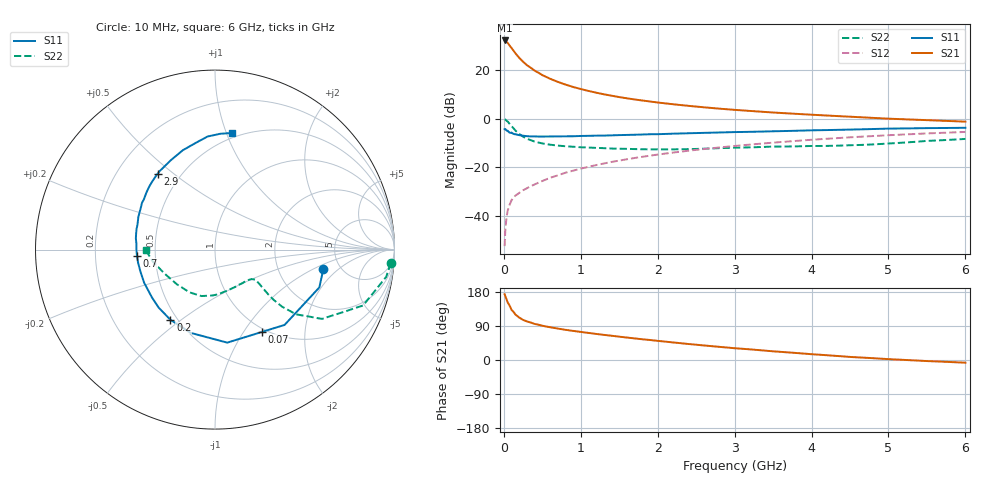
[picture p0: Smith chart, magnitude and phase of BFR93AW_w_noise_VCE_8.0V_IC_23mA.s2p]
! Infineon Technologies  Discrete & RF Semiconductors
! BFR93AW
! VCE =  8.0 V,  IC =  23 mA
! Common Emitter S-Parameters:  Jan 2017
# GHz  S  MA  R  50
!  f  S11  S21  S12  S22
! GHz  MAG  ANG  MAG  ANG  MAG  ANG  MAG  ANG
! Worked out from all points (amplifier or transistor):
!   77 points, 10 MHz to 6 GHz, reference 50 ohm
!   highest |S21| = 32.3 dB at 10 MHz (marker M1)
!   |S21| within 3 dB of that: start of sweep to 97.05 MHz
!   unconditionally stable (mu >= 1): 663.2 MHz to 2.054 GHz
!   at 130 MHz: K = 0.46, MSG = 30.1 dB, |S12| = -32.3 dB
!   at 2.2 GHz: K = 0.99, MSG = 10.0 dB, |S12| = -13.9 dB
!   at 6 GHz: K = 0.86, MSG = 2.1 dB, |S12| = -5.4 dB
!   lowest NFmin = 1.60 dB at 450 MHz
!   S11 on the Smith chart (normalised r, x): 10 MHz: 3.72, -1.26; 70 MHz: 0.95, -1.21; 200 MHz: 0.46, -0.46; 700 MHz: 0.39, -0.03; 2.9 GHz: 0.37, +0.44; 6 GHz: 0.46, +1.04
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0.01  0.6134 -9.9  41.19 173.5  0.0024 79.5  0.9822 -4.4
0.02  0.6184 -19.9  41.06 167.9  0.0054 80.8  0.9661 -9.0
0.05  0.5713 -47.3  36.78 151.8  0.0129 71.2  0.8816 -20.7
0.07  0.5276 -60.5  33.15 145.2  0.0162 66.4  0.8091 -25.0
0.1  0.5228 -82.5  28.79 132.4  0.0212 62.0  0.7107 -32.9
0.15  0.4834 -106.3  22.5 120.1  0.0263 57.8  0.5776 -38.6
0.2  0.4632 -122.4  18.08 111.9  0.0299 57.9  0.4902 -40.4
0.25  0.4506 -134.1  15.04 105.9  0.034 57.5  0.4316 -40.6
0.3  0.441 -142.8  12.78 101.7  0.0374 59.8  0.3897 -40.1
0.4  0.4359 -154.9  9.869 95.2  0.0448 62.4  0.3411 -38.8
0.5  0.4332 -163.7  7.982 90.4  0.0527 64.6  0.3124 -37.7
0.6  0.4348 -170.5  6.726 86.5  0.0612 65.6  0.2949 -37.2
0.7  0.436 -175.6  5.795 83.0  0.0686 67.6  0.2823 -36.8
0.9  0.4391 175.7  4.543 76.8  0.0859 68.3  0.2673 -38.1
1.1  0.4484 168.5  3.764 71.5  0.1031 68.9  0.2573 -40.3
1.5  0.4638 157.1  2.814 61.6  0.1385 67.9  0.243 -48.1
2.1  0.4902 142.7  2.088 48.5  0.1934 64.7  0.236 -65.0
2.9  0.5301 127.0  1.58 33.0  0.2676 58.4  0.2525 -89.8
3.1  0.5383 123.2  1.497 29.6  0.2865 56.6  0.2573 -95.4
4.1  0.5854 106.4  1.197 14.0  0.3809 46.8  0.2772 -124.2
5.1  0.6336 92.5  0.997 1.3  0.4694 36.0  0.318 -157.8
6  0.6564 81.8  0.878 -7.1  0.5394 25.7  0.3871 -179.9
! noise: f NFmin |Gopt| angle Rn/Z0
0.45  1.6  0.15  166  0.15
0.9  1.88  0.24  177  0.16
1.9  2.89  0.48  -138  0.24
2.4  3.53  0.55  -126  0.48
